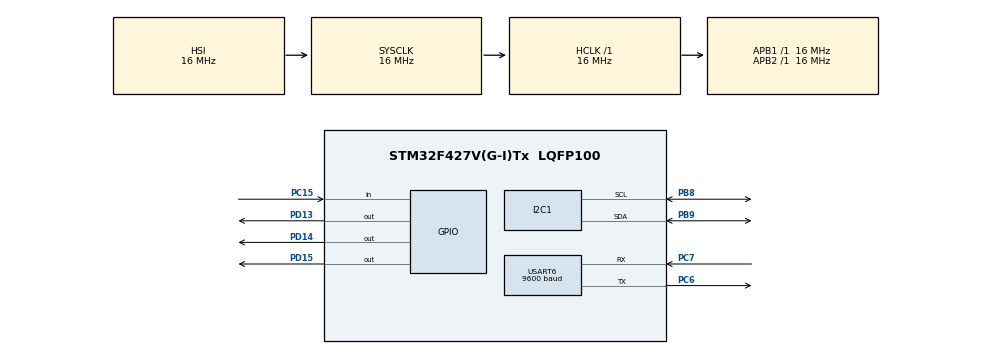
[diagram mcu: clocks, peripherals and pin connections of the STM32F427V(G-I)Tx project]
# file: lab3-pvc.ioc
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Mcu.Family=STM32F4
Mcu.Name=STM32F427V(G-I)Tx
Mcu.Package=LQFP100
NVIC.PriorityGroup=NVIC_PRIORITYGROUP_4
PA13.Mode=JTAG_5_pins
PA13.Signal=SYS_JTMS-SWDIO
PA14.Mode=JTAG_5_pins
PA14.Signal=SYS_JTCK-SWCLK
PA15.Mode=JTAG_5_pins
PA15.Signal=SYS_JTDI
PB3.Mode=JTAG_5_pins
PB3.Signal=SYS_JTDO-SWO
PB4.Mode=JTAG_5_pins
PB4.Signal=SYS_JTRST
PB8.Mode=I2C
PB8.Signal=I2C1_SCL
PB9.Mode=I2C
PB9.Signal=I2C1_SDA
PC15/OSC32_OUT.Signal=GPIO_Input
PC6.Mode=Asynchronous
PC6.Signal=USART6_TX
PC7.Mode=Asynchronous
PC7.Signal=USART6_RX
PD13.Signal=GPIO_Output
PD14.Signal=GPIO_Output
PD15.Signal=GPIO_Output
ProjectManager.HeapSize=0x200
ProjectManager.StackSize=0x400
ProjectManager.TargetToolchain=STM32CubeIDE
RCC.AHBFreq_Value=16000000
RCC.APB1Freq_Value=16000000
RCC.APB2Freq_Value=16000000
RCC.CortexFreq_Value=16000000
RCC.HSE_VALUE=25000000
RCC.HSI_VALUE=16000000
RCC.LSE_VALUE=32768
RCC.SYSCLKFreq_VALUE=16000000
RCC.VCOOutputFreq_Value=192000000
USART6.BaudRate=9600
USART6.VirtualMode=VM_ASYNC
board=custom

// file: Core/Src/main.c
/* USER CODE BEGIN Header */
/**
  ******************************************************************************
  * @file           : main.c
  * @brief          : Main program body
  ******************************************************************************
  * @attention
  *
  * Copyright (c) 2026 STMicroelectronics.
  * All rights reserved.
  *
  * This software is licensed under terms that can be found in the LICENSE file
  * in the root directory of this software component.
  * If no LICENSE file comes with this software, it is provided AS-IS.
  *
  ******************************************************************************
  */
/* USER CODE END Header */
#include "main.h"
#include "i2c.h"
#include "usart.h"
#include "gpio.h"

/* USER CODE BEGIN Includes */
#include "lock.h"
#include "lock_protocol.h"
#include "lock_display.h"
#include "oled.h"
#include "uart_driver.h"

/* USER CODE END Includes */

/* USER CODE BEGIN PV */
/* Результаты стартовой проверки I2C. Видны в отладчике. */
static volatile I2C1_ProbeResult i2c1_startup_status;
static volatile HAL_StatusTypeDef oled_startup_status;

/* USER CODE END PV */

void SystemClock_Config(void);

int main(void)
{

  /* MCU Configuration--------------------------------------------------------*/

  /* Reset of all peripherals, Initializes the Flash interface and the Systick. */
  HAL_Init();

  /* Configure the system clock */
  SystemClock_Config();

  /* Initialize all configured peripherals */
  MX_GPIO_Init();
  MX_USART6_UART_Init();
  MX_I2C1_Init();
  /* USER CODE BEGIN 2 */
  UART_DriverInit();
  oled_startup_status = OLED_Init();
  i2c1_startup_status = I2C1_ProbeBoard();

  Lock_Init();
  LockProtocol_Init();

  /* USER CODE END 2 */

  /* Infinite loop */
  while (1)
  {

    /* USER CODE BEGIN 3 */
    UART_Service();
    Lock_Update();
    LockProtocol_Update();
    LockDisplay_Update();
  }
  /* USER CODE END 3 */
}

void SystemClock_Config(void)
{
  RCC_OscInitTypeDef RCC_OscInitStruct = {0};
  RCC_ClkInitTypeDef RCC_ClkInitStruct = {0};

  /** Configure the main internal regulator output voltage
  */
  __HAL_RCC_PWR_CLK_ENABLE();
  __HAL_PWR_VOLTAGESCALING_CONFIG(PWR_REGULATOR_VOLTAGE_SCALE3);

  /** Initializes the RCC Oscillators according to the specified parameters
  * in the RCC_OscInitTypeDef structure.
  */
  RCC_OscInitStruct.OscillatorType = RCC_OSCILLATORTYPE_HSI;
  RCC_OscInitStruct.HSIState = RCC_HSI_ON;
  RCC_OscInitStruct.HSICalibrationValue = RCC_HSICALIBRATION_DEFAULT;
  RCC_OscInitStruct.PLL.PLLState = RCC_PLL_NONE;
  if (HAL_RCC_OscConfig(&RCC_OscInitStruct) != HAL_OK)
  {
    Error_Handler();
  }

  /** Initializes the CPU, AHB and APB buses clocks
  */
  RCC_ClkInitStruct.ClockType = RCC_CLOCKTYPE_HCLK|RCC_CLOCKTYPE_SYSCLK
                              |RCC_CLOCKTYPE_PCLK1|RCC_CLOCKTYPE_PCLK2;
  RCC_ClkInitStruct.SYSCLKSource = RCC_SYSCLKSOURCE_HSI;
  RCC_ClkInitStruct.AHBCLKDivider = RCC_SYSCLK_DIV1;
  RCC_ClkInitStruct.APB1CLKDivider = RCC_HCLK_DIV1;
  RCC_ClkInitStruct.APB2CLKDivider = RCC_HCLK_DIV1;

  if (HAL_RCC_ClockConfig(&RCC_ClkInitStruct, FLASH_LATENCY_0) != HAL_OK)
  {
    Error_Handler();
  }
}

void Error_Handler(void)
{
  __disable_irq();
  while (1)
  {
  }
}
